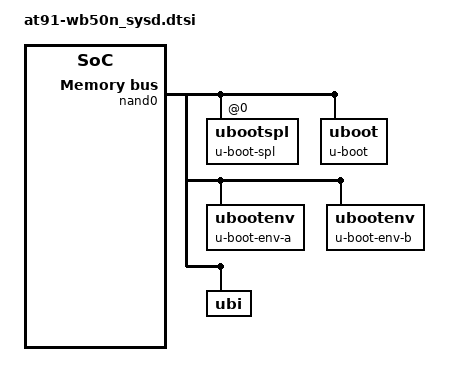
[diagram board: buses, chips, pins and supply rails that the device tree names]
// SPDX-License-Identifier: GPL-2.0
/*
 * at91-wb50n.dtsi - Device Tree include file for wb50n cpu module
 *
 *  Copyright (C) 2018-2022 Laird Connectivity
 *
 */

#include "at91-wb50n_common.dtsi"

/ {
	config {
		bootdelay = <(-2)>;
	};

	/*
	 * This is a development-only AES-128 key passed from U-Boot into
	 * the kernel for the encrypted filesystems; it will be
	 * replaced in manufacturing with a production key.
	 */
	encryption {
		laird,fs-key = <
			0xbf4a626e 0x68ddba72 0x36094531 0x15fa806c
			0x38862932 0x3078d54f 0x0b3e3d9f 0x0adfaae5
			0xb194f2cd 0x402bc3c6 0x35b7d66c 0xd06c9e8d
			0xc080cede 0xd8bff74a 0xc16c2cfe 0xeaca5bbf
		>;
	};
};

&mmc0 {
	u-boot,dm-pre-reloc;
};

&nand0 {
	ubootspl@0 {
		label = "u-boot-spl";
		reg = <0x0 0x20000>;
	};

	uboot@20000 {
		label = "u-boot";
		reg = <0x20000 0x100000>;
	};

	ubootenv@120000 {
		label = "u-boot-env-a";
		reg = <0x120000 0x20000>;
	};

	ubootenv@140000 {
		label = "u-boot-env-b";
		reg = <0x140000 0x20000>;
	};

	ubi@160000 {
		label = "ubi";
		reg = <0x160000 0x7e20000>;
	};
};
